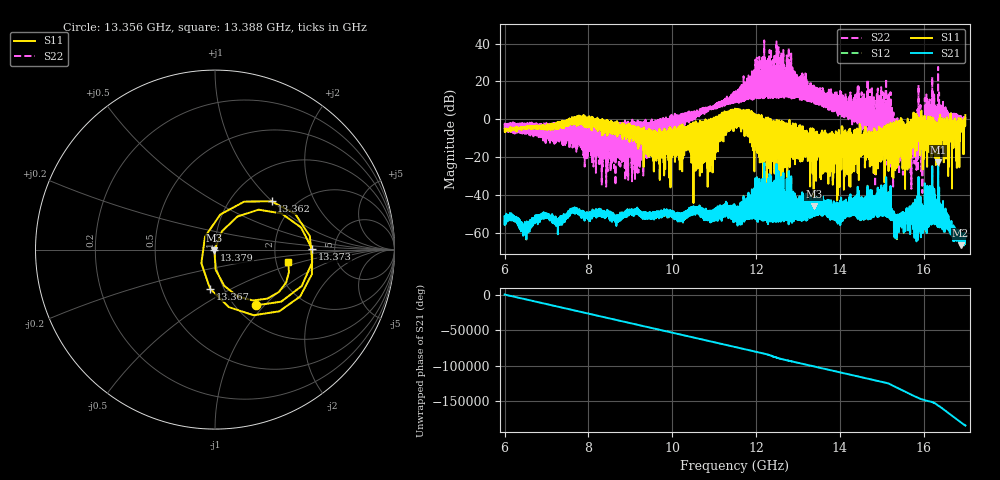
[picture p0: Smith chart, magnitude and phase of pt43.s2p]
#  HZ  S  RI  R  50.00
! Rohde & Schwarz Vector Network Analyzer
! Rohde-Schwarz,ZNA67-2Port,1332450062101215,3.01
! Created: UTC 10/15/2026, 4:41:58 PM
! freq[Hz]  re:S11  im:S11  re:S21  im:S21  re:S12  im:S12  re:S22  im:S22
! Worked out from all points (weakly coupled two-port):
!   11001 points, 6 GHz to 17 GHz, reference 50 ohm
!   highest |S21| = -22.64 dB at 16.349 GHz (marker M1); lowest = -66.6 dB at 16.885 GHz (marker M2)
!   lowest |S11| = -45.8 dB at 13.379 GHz (marker M3), VSWR 1.01, Z = 49.7 - j0.4 ohm
!   |S11| at or under -10 dB: 13.47962 GHz to 13.51917 GHz (39.55 MHz wide, 0.293 % of centre); 13.60809 GHz to 13.64679 GHz (38.7 MHz wide, 0.284 % of centre); 13.77214 GHz to 13.80262 GHz (30.48 MHz wide, 0.221 % of centre) (the widest 3 of 529)
!   |S22| runs from -38.8 to 41.6 dB; largest |S21 - S12| = 0.0039
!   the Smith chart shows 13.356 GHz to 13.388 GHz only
!   S11 on the Smith chart (normalised r, x): 13.356 GHz: 1.23, -0.90; 13.362 GHz: 1.53, +0.99; 13.367 GHz: 0.86, -0.39; 13.373 GHz: 3.36, +0.01; 13.379 GHz: 0.99, -0.01; 13.388 GHz: 2.33, -0.40
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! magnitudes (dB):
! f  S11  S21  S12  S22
! 6 GHz  -5.1  -51.2  -51.2  -4.9
! 6.466 GHz  -4.2  -60.4  -60.5  -6.1
! 6.935 GHz  -3.8  -49.4  -49.5  -3.7
! 7.244 GHz  -3.4  -55.2  -55.2  -5.1
! 7.834 GHz  -0.5  -51.2  -51.0  -2.8
! 9.667 GHz  -12.7  -48.4  -48.7  -0.3
! 10.924 GHz  0.3  -53.4  -53.3  5.4
! 11.5 GHz  5.4  -49.6  -49.6  10.7
! 12.592 GHz  -7.5  -54.0  -53.7  11.7
! 13.334 GHz  -9.2  -47.8  -47.8  11.9
! 13.356 GHz  -8.3  -45.6  -45.7  15.4
! 13.362 GHz  -7.7  -42.8  -43.1  16.9
! 13.367 GHz  -13.2  -44.7  -44.8  16.4
! 13.373 GHz  -5.3  -42.4  -42.7  17.0
! 13.379 GHz  -45.8  -42.6  -42.7  17.9
! 13.388 GHz  -7.7  -49.7  -49.6  8.9
! 14.151 GHz  -12.7  -46.7  -46.8  7.1
! 15.167 GHz  -9.3  -50.6  -50.8  -0.7
! 15.685 GHz  -6.7  -49.6  -49.9  -14.4
! 16.349 GHz  -4.1  -22.6  -23.0  27.7
! 16.885 GHz  0.6  -66.6  -66.6  -1.0
! 17 GHz  2.2  -61.6  -61.8  0.3
